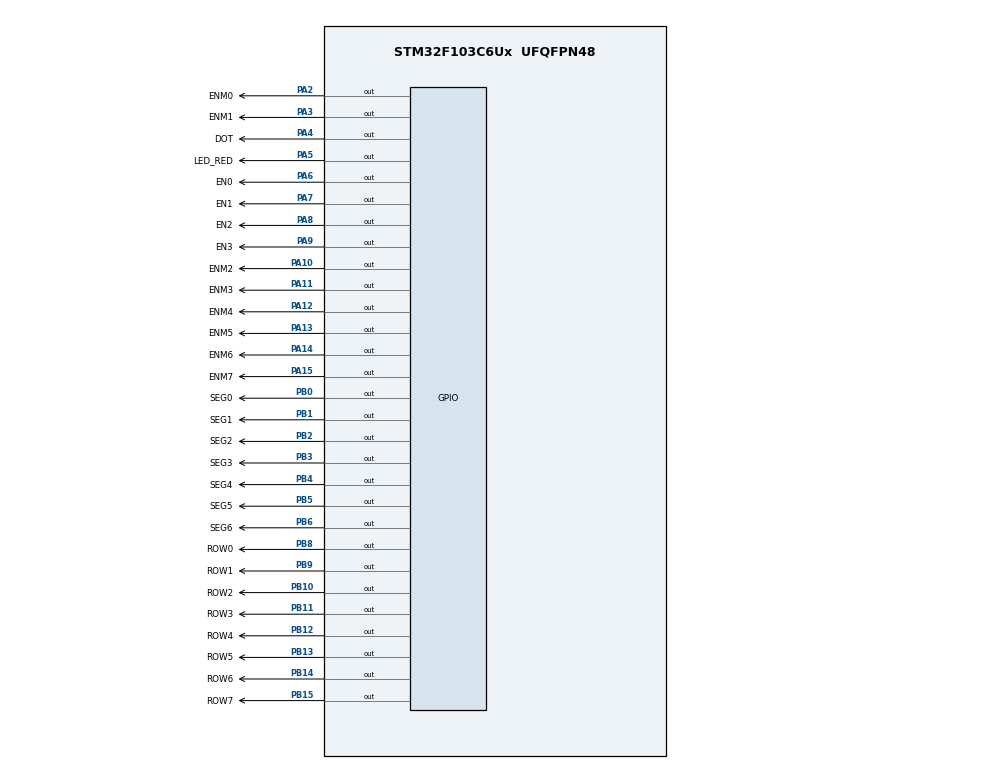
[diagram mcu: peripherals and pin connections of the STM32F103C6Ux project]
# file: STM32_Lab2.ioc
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Mcu.Family=STM32F1
Mcu.Name=STM32F103C6Ux
Mcu.Package=UFQFPN48
NVIC.PriorityGroup=NVIC_PRIORITYGROUP_4
NVIC.TIM2_IRQn=true\:0\:0\:false\:false\:true\:true\:true
PA10.GPIO_Label=ENM2
PA10.Signal=GPIO_Output
PA11.GPIO_Label=ENM3
PA11.Signal=GPIO_Output
PA12.GPIO_Label=ENM4
PA12.Signal=GPIO_Output
PA13.GPIO_Label=ENM5
PA13.Signal=GPIO_Output
PA14.GPIO_Label=ENM6
PA14.Signal=GPIO_Output
PA15.GPIO_Label=ENM7
PA15.Signal=GPIO_Output
PA2.GPIO_Label=ENM0
PA2.Signal=GPIO_Output
PA3.GPIO_Label=ENM1
PA3.Signal=GPIO_Output
PA4.GPIO_Label=DOT
PA4.Signal=GPIO_Output
PA5.GPIO_Label=LED_RED
PA5.Signal=GPIO_Output
PA6.GPIO_Label=EN0
PA6.Signal=GPIO_Output
PA7.GPIO_Label=EN1
PA7.Signal=GPIO_Output
PA8.GPIO_Label=EN2
PA8.Signal=GPIO_Output
PA9.GPIO_Label=EN3
PA9.Signal=GPIO_Output
PB0.GPIO_Label=SEG0
PB0.Signal=GPIO_Output
PB1.GPIO_Label=SEG1
PB1.Signal=GPIO_Output
PB10.GPIO_Label=ROW2
PB10.Signal=GPIO_Output
PB11.GPIO_Label=ROW3
PB11.Signal=GPIO_Output
PB12.GPIO_Label=ROW4
PB12.Signal=GPIO_Output
PB13.GPIO_Label=ROW5
PB13.Signal=GPIO_Output
PB14.GPIO_Label=ROW6
PB14.Signal=GPIO_Output
PB15.GPIO_Label=ROW7
PB15.Signal=GPIO_Output
PB2.GPIO_Label=SEG2
PB2.Signal=GPIO_Output
PB3.GPIO_Label=SEG3
PB3.Signal=GPIO_Output
PB4.GPIO_Label=SEG4
PB4.Signal=GPIO_Output
PB5.GPIO_Label=SEG5
PB5.Signal=GPIO_Output
PB6.GPIO_Label=SEG6
PB6.Signal=GPIO_Output
PB8.GPIO_Label=ROW0
PB8.Signal=GPIO_Output
PB9.GPIO_Label=ROW1
PB9.Signal=GPIO_Output
ProjectManager.HeapSize=0x200
ProjectManager.StackSize=0x400
ProjectManager.TargetToolchain=STM32CubeIDE
RCC.APB1Freq_Value=8000000
RCC.APB2Freq_Value=8000000
TIM2.Period=9
TIM2.Prescaler=7999
VP_SYS_VS_ND.Mode=No_Debug
VP_TIM2_VS_ClockSourceINT.Mode=Internal
board=custom

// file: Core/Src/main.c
/* USER CODE BEGIN Header */
/**
  ******************************************************************************
  * @file           : main.c
  * @brief          : Main program body
  ******************************************************************************
  * @attention
  *
  * <h2><center>&copy; Copyright (c) 2024 STMicroelectronics.
  * All rights reserved.</center></h2>
  *
  * This software component is licensed by ST under BSD 3-Clause license,
  * the "License"; You may not use this file except in compliance with the
  * License. You may obtain a copy of the License at:
  *                        opensource.org/licenses/BSD-3-Clause
  *
  ******************************************************************************
  */
/* USER CODE END Header */
#include "main.h"

/* USER CODE BEGIN Includes */
#include "Lab2_Ex.h"
/* USER CODE END Includes */

TIM_HandleTypeDef htim2;

void SystemClock_Config(void);
static void MX_TIM2_Init(void);
static void MX_GPIO_Init(void);

/* USER CODE BEGIN 0 */
int timer0_counter = 0, timer1_counter = 0, timer2_counter = 0;
int timer0_flag = 0, timer1_flag = 0, timer2_flag = 0;
int TIMER_CYCLE = 10;

void setTimer0(int duration){
	timer0_counter = duration / TIMER_CYCLE;
	timer0_flag = 0;
}

void setTimer1(int duration){
	timer1_counter = duration / TIMER_CYCLE;
	timer1_flag = 0;
}

void setTimer2(int duration){
	timer2_counter = duration / TIMER_CYCLE;
	timer2_flag = 0;
}

void timer0_run(){
	if (timer0_counter > 0){
		timer0_counter--;
		if (timer0_counter == 0)
			timer0_flag = 1;
	}
	if (timer1_counter > 0){
		timer1_counter--;
		if (timer1_counter == 0)
			timer1_flag = 1;
	}
	if (timer2_counter > 0){
		timer2_counter--;
		if (timer2_counter == 0)
			timer2_flag = 1;
	}
}
/* USER CODE END 0 */

int main(void)
{

  /* MCU Configuration--------------------------------------------------------*/

  /* Reset of all peripherals, Initializes the Flash interface and the Systick. */
  HAL_Init();

  /* Configure the system clock */
  SystemClock_Config();

  /* Initialize all configured peripherals */
  MX_TIM2_Init();
  MX_GPIO_Init();
  /* USER CODE BEGIN 2 */
  HAL_TIM_Base_Start_IT(&htim2);
  /* USER CODE END 2 */

  /* Infinite loop */
  /* USER CODE BEGIN WHILE */
  Lab2_Init();
  int hour = 5, minute = 10, second = 55;
  int index_led = 0, index_ledmt = 0;
  setTimer0(1000);
  setTimer1(10);
  setTimer2(250);
  while (1)
  {
	  updateClockBuffer(hour, minute);
	  if (timer1_flag == 1) {
		  updateLEDMatrix(index_ledmt);
		  if (index_ledmt < 7){
			  index_ledmt++;
		  }
		  else {
			  index_ledmt = 0;
			  shift_left();
		  }
		  setTimer1(50);
	  }
	  if (timer2_flag == 1) {
		  update7SEG(index_led);
		  if (index_led < 3){
			  index_led++;
		  }
		  else {
			  index_led = 0;
		  }
		  setTimer2(250);
	  }
	  if (timer0_flag == 1) {
		  HAL_GPIO_TogglePin(LED_RED_GPIO_Port, LED_RED_Pin);
		  HAL_GPIO_TogglePin(DOT_GPIO_Port, DOT_Pin);
		  second++;
		  if (second >= 60){
			  second = 0;
			  minute++;
		  }
		  if (minute >= 60){
			  minute = 0;
			  hour++;
		  }
		  if (hour >= 24){
			  hour = 0;
		  }
		  setTimer0(1000);
	   }
    /* USER CODE END WHILE */

  }
}

void SystemClock_Config(void)
{
  RCC_OscInitTypeDef RCC_OscInitStruct = {0};
  RCC_ClkInitTypeDef RCC_ClkInitStruct = {0};

  /** Initializes the RCC Oscillators according to the specified parameters
  * in the RCC_OscInitTypeDef structure.
  */
  RCC_OscInitStruct.OscillatorType = RCC_OSCILLATORTYPE_HSI;
  RCC_OscInitStruct.HSIState = RCC_HSI_ON;
  RCC_OscInitStruct.HSICalibrationValue = RCC_HSICALIBRATION_DEFAULT;
  RCC_OscInitStruct.PLL.PLLState = RCC_PLL_NONE;
  if (HAL_RCC_OscConfig(&RCC_OscInitStruct) != HAL_OK)
  {
    Error_Handler();
  }
  /** Initializes the CPU, AHB and APB buses clocks
  */
  RCC_ClkInitStruct.ClockType = RCC_CLOCKTYPE_HCLK|RCC_CLOCKTYPE_SYSCLK
                              |RCC_CLOCKTYPE_PCLK1|RCC_CLOCKTYPE_PCLK2;
  RCC_ClkInitStruct.SYSCLKSource = RCC_SYSCLKSOURCE_HSI;
  RCC_ClkInitStruct.AHBCLKDivider = RCC_SYSCLK_DIV1;
  RCC_ClkInitStruct.APB1CLKDivider = RCC_HCLK_DIV1;
  RCC_ClkInitStruct.APB2CLKDivider = RCC_HCLK_DIV1;

  if (HAL_RCC_ClockConfig(&RCC_ClkInitStruct, FLASH_LATENCY_0) != HAL_OK)
  {
    Error_Handler();
  }
}

static void MX_TIM2_Init(void)
{

  TIM_ClockConfigTypeDef sClockSourceConfig = {0};
  TIM_MasterConfigTypeDef sMasterConfig = {0};

  htim2.Instance = TIM2;
  htim2.Init.Prescaler = 7999;
  htim2.Init.CounterMode = TIM_COUNTERMODE_UP;
  htim2.Init.Period = 9;
  htim2.Init.ClockDivision = TIM_CLOCKDIVISION_DIV1;
  htim2.Init.AutoReloadPreload = TIM_AUTORELOAD_PRELOAD_DISABLE;
  if (HAL_TIM_Base_Init(&htim2) != HAL_OK)
  {
    Error_Handler();
  }
  sClockSourceConfig.ClockSource = TIM_CLOCKSOURCE_INTERNAL;
  if (HAL_TIM_ConfigClockSource(&htim2, &sClockSourceConfig) != HAL_OK)
  {
    Error_Handler();
  }
  sMasterConfig.MasterOutputTrigger = TIM_TRGO_RESET;
  sMasterConfig.MasterSlaveMode = TIM_MASTERSLAVEMODE_DISABLE;
  if (HAL_TIMEx_MasterConfigSynchronization(&htim2, &sMasterConfig) != HAL_OK)
  {
    Error_Handler();
  }

}

static void MX_GPIO_Init(void)
{
  GPIO_InitTypeDef GPIO_InitStruct = {0};

  /* GPIO Ports Clock Enable */
  __HAL_RCC_GPIOA_CLK_ENABLE();
  __HAL_RCC_GPIOB_CLK_ENABLE();

  /*Configure GPIO pin Output Level */
  HAL_GPIO_WritePin(GPIOA, ENM0_Pin|ENM1_Pin|DOT_Pin|LED_RED_Pin
                          |EN0_Pin|EN1_Pin|EN2_Pin|EN3_Pin
                          |ENM2_Pin|ENM3_Pin|ENM4_Pin|ENM5_Pin
                          |ENM6_Pin|ENM7_Pin, GPIO_PIN_RESET);

  /*Configure GPIO pin Output Level */
  HAL_GPIO_WritePin(GPIOB, SEG0_Pin|SEG1_Pin|SEG2_Pin|ROW2_Pin
                          |ROW3_Pin|ROW4_Pin|ROW5_Pin|ROW6_Pin
                          |ROW7_Pin|SEG3_Pin|SEG4_Pin|SEG5_Pin
                          |SEG6_Pin|ROW0_Pin|ROW1_Pin, GPIO_PIN_RESET);

  /*Configure GPIO pins : ENM0_Pin ENM1_Pin DOT_Pin LED_RED_Pin
                           EN0_Pin EN1_Pin EN2_Pin EN3_Pin
                           ENM2_Pin ENM3_Pin ENM4_Pin ENM5_Pin
                           ENM6_Pin ENM7_Pin */
  GPIO_InitStruct.Pin = ENM0_Pin|ENM1_Pin|DOT_Pin|LED_RED_Pin
                          |EN0_Pin|EN1_Pin|EN2_Pin|EN3_Pin
                          |ENM2_Pin|ENM3_Pin|ENM4_Pin|ENM5_Pin
                          |ENM6_Pin|ENM7_Pin;
  GPIO_InitStruct.Mode = GPIO_MODE_OUTPUT_PP;
  GPIO_InitStruct.Pull = GPIO_NOPULL;
  GPIO_InitStruct.Speed = GPIO_SPEED_FREQ_LOW;
  HAL_GPIO_Init(GPIOA, &GPIO_InitStruct);

  /*Configure GPIO pins : SEG0_Pin SEG1_Pin SEG2_Pin ROW2_Pin
                           ROW3_Pin ROW4_Pin ROW5_Pin ROW6_Pin
                           ROW7_Pin SEG3_Pin SEG4_Pin SEG5_Pin
                           SEG6_Pin ROW0_Pin ROW1_Pin */
  GPIO_InitStruct.Pin = SEG0_Pin|SEG1_Pin|SEG2_Pin|ROW2_Pin
                          |ROW3_Pin|ROW4_Pin|ROW5_Pin|ROW6_Pin
                          |ROW7_Pin|SEG3_Pin|SEG4_Pin|SEG5_Pin
                          |SEG6_Pin|ROW0_Pin|ROW1_Pin;
  GPIO_InitStruct.Mode = GPIO_MODE_OUTPUT_PP;
  GPIO_InitStruct.Pull = GPIO_NOPULL;
  GPIO_InitStruct.Speed = GPIO_SPEED_FREQ_LOW;
  HAL_GPIO_Init(GPIOB, &GPIO_InitStruct);

}

/* USER CODE BEGIN 4 */
void HAL_TIM_PeriodElapsedCallback(TIM_HandleTypeDef *htim){
	timer0_run();
}
/* USER CODE END 4 */

void Error_Handler(void)
{
  __disable_irq();
  while (1)
  {
  }
}

/************************ (C) COPYRIGHT STMicroelectronics *****END OF FILE****/
